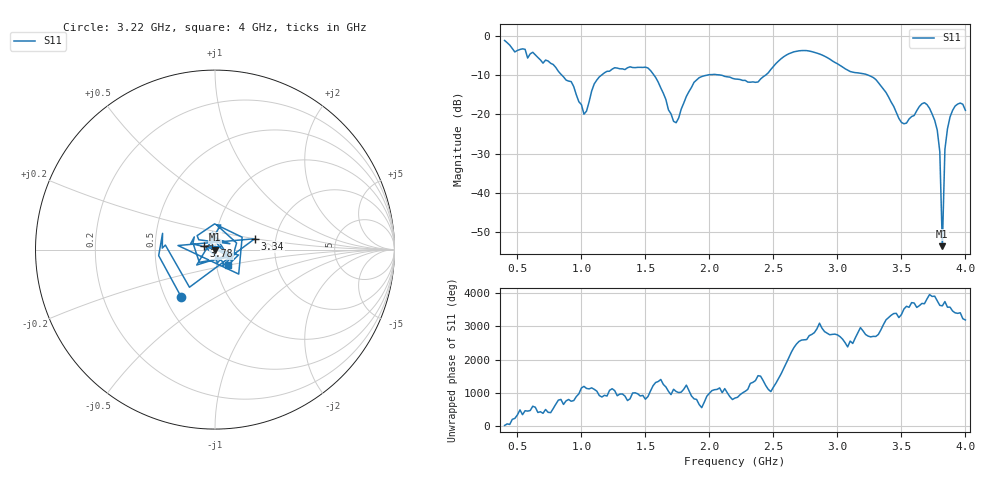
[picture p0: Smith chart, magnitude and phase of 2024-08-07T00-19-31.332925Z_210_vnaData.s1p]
!Created with skrf (http://scikit-rf.org).
# Hz S RI R 50.0
!freq ReS11 ImS11
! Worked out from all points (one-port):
!   181 points, 400 MHz to 4 GHz, reference 50 ohm
!   lowest |S11| = -53.5 dB at 3.82 GHz (marker M1), VSWR 1.00, Z = 50.2 + j0.0496 ohm
!   |S11| at or under -10 dB: 1.567 GHz to 1.986 GHz (419.7 MHz wide, 23.6 % of centre); 2.086 GHz to 2.44 GHz (354.3 MHz wide, 15.7 % of centre); 3.239 GHz to end of sweep (the widest 3 of 4)
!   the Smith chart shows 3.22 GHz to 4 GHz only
!   S11 on the Smith chart (normalised r, x): 3.22 GHz: 0.60, -0.36; 3.34 GHz: 1.55, +0.20; 3.78 GHz: 0.89, +0.03; 4 GHz: 1.14, -0.20
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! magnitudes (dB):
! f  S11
! 400 MHz  -1.2
! 860 MHz  -10.5
! 920 MHz  -11.7
! 1.02 GHz  -19.9
! 1.14 GHz  -10.5
! 1.3 GHz  -8.4
! 1.52 GHz  -8.2
! 1.6 GHz  -11.8
! 1.72 GHz  -21.8
! 1.76 GHz  -20.9
! 1.92 GHz  -10.7
! 2.2 GHz  -11.0
! 2.38 GHz  -11.8
! 2.66 GHz  -4.1
! 2.86 GHz  -4.6
! 3.1 GHz  -9.1
! 3.22 GHz  -9.8
! 3.34 GHz  -12.8
! 3.5 GHz  -22.0
! 3.56 GHz  -21.2
! 3.68 GHz  -17.0
! 3.78 GHz  -24.0
! 3.8 GHz  -29.5
! 3.82 GHz  -53.5
! 3.84 GHz  -28.9
! 3.86 GHz  -23.7
! 3.92 GHz  -17.9
! 4 GHz  -19.0
